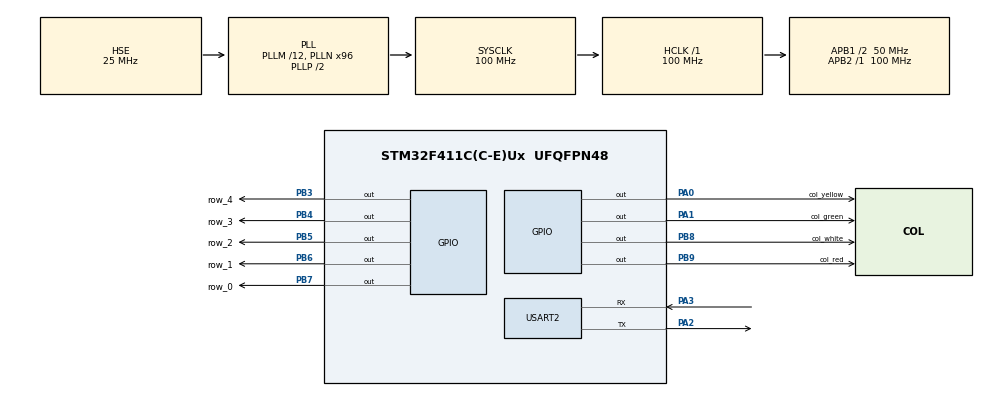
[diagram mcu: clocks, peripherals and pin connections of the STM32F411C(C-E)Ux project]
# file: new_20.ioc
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FREERTOS.Queues01=uart_to_output,10,uint32_t,0,Dynamic,NULL,NULL
FREERTOS.Tasks01=read_uart,32,128,start_read_uart,Default,NULL,Dynamic,NULL,NULL;output,24,128,start_output,Default,NULL,Dynamic,NULL,NULL;count_time,24,128,start_count_time,Default,NULL,Dynamic,NULL,NULL
Mcu.Family=STM32F4
Mcu.Name=STM32F411C(C-E)Ux
Mcu.Package=UFQFPN48
NVIC.PriorityGroup=NVIC_PRIORITYGROUP_4
NVIC.TIM4_IRQn=true\:15\:0\:false\:false\:true\:false\:false\:true\:true
NVIC.TimeBase=TIM4_IRQn
NVIC.TimeBaseIP=TIM4
PA0-WKUP.GPIO_Label=col_yellow
PA0-WKUP.GPIO_PuPd=GPIO_NOPULL
PA0-WKUP.GPIO_Speed=GPIO_SPEED_FREQ_VERY_HIGH
PA0-WKUP.PinState=GPIO_PIN_RESET
PA0-WKUP.Signal=GPIO_Output
PA1.GPIO_Label=col_green
PA1.GPIO_ModeDefaultOutputPP=GPIO_MODE_OUTPUT_PP
PA1.GPIO_PuPd=GPIO_NOPULL
PA1.GPIO_Speed=GPIO_SPEED_FREQ_VERY_HIGH
PA1.PinState=GPIO_PIN_RESET
PA1.Signal=GPIO_Output
PA13.Mode=Serial_Wire
PA13.Signal=SYS_JTMS-SWDIO
PA14.Mode=Serial_Wire
PA14.Signal=SYS_JTCK-SWCLK
PA2.Mode=Asynchronous
PA2.Signal=USART2_TX
PA3.Mode=Asynchronous
PA3.Signal=USART2_RX
PB3.GPIO_Label=row_4
PB3.GPIO_Speed=GPIO_SPEED_FREQ_VERY_HIGH
PB3.PinState=GPIO_PIN_SET
PB3.Signal=GPIO_Output
PB4.GPIO_Label=row_3
PB4.GPIO_Speed=GPIO_SPEED_FREQ_VERY_HIGH
PB4.PinState=GPIO_PIN_SET
PB4.Signal=GPIO_Output
PB5.GPIO_Label=row_2
PB5.GPIO_Speed=GPIO_SPEED_FREQ_VERY_HIGH
PB5.PinState=GPIO_PIN_SET
PB5.Signal=GPIO_Output
PB6.GPIO_Label=row_1
PB6.GPIO_Speed=GPIO_SPEED_FREQ_VERY_HIGH
PB6.PinState=GPIO_PIN_SET
PB6.Signal=GPIO_Output
PB7.GPIO_Label=row_0
PB7.GPIO_Speed=GPIO_SPEED_FREQ_VERY_HIGH
PB7.PinState=GPIO_PIN_SET
PB7.Signal=GPIO_Output
PB8.GPIO_Label=col_white
PB8.GPIO_Speed=GPIO_SPEED_FREQ_VERY_HIGH
PB8.PinState=GPIO_PIN_RESET
PB8.Signal=GPIO_Output
PB9.GPIO_Label=col_red
PB9.GPIO_Speed=GPIO_SPEED_FREQ_VERY_HIGH
PB9.PinState=GPIO_PIN_RESET
PB9.Signal=GPIO_Output
PH0\ -\ OSC_IN.Mode=HSE-External-Oscillator
PH0\ -\ OSC_IN.Signal=RCC_OSC_IN
PH1\ -\ OSC_OUT.Mode=HSE-External-Oscillator
PH1\ -\ OSC_OUT.Signal=RCC_OSC_OUT
ProjectManager.HeapSize=0x200
ProjectManager.StackSize=0x400
ProjectManager.TargetToolchain=STM32CubeIDE
RCC.48MHZClocksFreq_Value=50000000
RCC.AHBFreq_Value=100000000
RCC.APB1CLKDivider=RCC_HCLK_DIV2
RCC.APB1Freq_Value=50000000
RCC.APB1TimFreq_Value=100000000
RCC.APB2Freq_Value=100000000
RCC.APB2TimFreq_Value=100000000
RCC.CortexFreq_Value=100000000
RCC.HCLKFreq_Value=100000000
RCC.HSE_VALUE=25000000
RCC.HSI_VALUE=16000000
RCC.LSE_VALUE=32768
RCC.PLLM=12
RCC.PLLN=96
RCC.PLLSourceVirtual=RCC_PLLSOURCE_HSE
RCC.SYSCLKFreq_VALUE=100000000
RCC.SYSCLKSource=RCC_SYSCLKSOURCE_PLLCLK
RCC.VCOOutputFreq_Value=200000000
USART2.VirtualMode=VM_ASYNC
VP_FREERTOS_VS_CMSIS_V2.Mode=CMSIS_V2
VP_SYS_VS_tim4.Mode=TIM4
board=custom

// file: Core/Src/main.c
/* USER CODE BEGIN Header */
/**
  ******************************************************************************
  * @file           : main.c
  * @brief          : Main program body
  ******************************************************************************
  * @attention
  *
  * Copyright (c) 2024 STMicroelectronics.
  * All rights reserved.
  *
  * This software is licensed under terms that can be found in the LICENSE file
  * in the root directory of this software component.
  * If no LICENSE file comes with this software, it is provided AS-IS.
  *
  ******************************************************************************
  */
/* USER CODE END Header */
#include "main.h"
#include "cmsis_os.h"
#include "usart.h"
#include "gpio.h"

void SystemClock_Config(void);
void MX_FREERTOS_Init(void);

int main(void)
{

  /* MCU Configuration--------------------------------------------------------*/

  /* Reset of all peripherals, Initializes the Flash interface and the Systick. */
  HAL_Init();

  /* Configure the system clock */
  SystemClock_Config();

  /* Initialize all configured peripherals */
  MX_GPIO_Init();
  MX_USART2_UART_Init();

  /* Init scheduler */
  osKernelInitialize();

  /* Call init function for freertos objects (in cmsis_os2.c) */
  MX_FREERTOS_Init();

  /* Start scheduler */
  osKernelStart();

  /* We should never get here as control is now taken by the scheduler */

  /* Infinite loop */
  while (1)
  {

  }
}

void SystemClock_Config(void)
{
  RCC_OscInitTypeDef RCC_OscInitStruct = {0};
  RCC_ClkInitTypeDef RCC_ClkInitStruct = {0};

  /** Configure the main internal regulator output voltage
  */
  __HAL_RCC_PWR_CLK_ENABLE();
  __HAL_PWR_VOLTAGESCALING_CONFIG(PWR_REGULATOR_VOLTAGE_SCALE1);

  /** Initializes the RCC Oscillators according to the specified parameters
  * in the RCC_OscInitTypeDef structure.
  */
  RCC_OscInitStruct.OscillatorType = RCC_OSCILLATORTYPE_HSE;
  RCC_OscInitStruct.HSEState = RCC_HSE_ON;
  RCC_OscInitStruct.PLL.PLLState = RCC_PLL_ON;
  RCC_OscInitStruct.PLL.PLLSource = RCC_PLLSOURCE_HSE;
  RCC_OscInitStruct.PLL.PLLM = 12;
  RCC_OscInitStruct.PLL.PLLN = 96;
  RCC_OscInitStruct.PLL.PLLP = RCC_PLLP_DIV2;
  RCC_OscInitStruct.PLL.PLLQ = 4;
  if (HAL_RCC_OscConfig(&RCC_OscInitStruct) != HAL_OK)
  {
    Error_Handler();
  }

  /** Initializes the CPU, AHB and APB buses clocks
  */
  RCC_ClkInitStruct.ClockType = RCC_CLOCKTYPE_HCLK|RCC_CLOCKTYPE_SYSCLK
                              |RCC_CLOCKTYPE_PCLK1|RCC_CLOCKTYPE_PCLK2;
  RCC_ClkInitStruct.SYSCLKSource = RCC_SYSCLKSOURCE_PLLCLK;
  RCC_ClkInitStruct.AHBCLKDivider = RCC_SYSCLK_DIV1;
  RCC_ClkInitStruct.APB1CLKDivider = RCC_HCLK_DIV2;
  RCC_ClkInitStruct.APB2CLKDivider = RCC_HCLK_DIV1;

  if (HAL_RCC_ClockConfig(&RCC_ClkInitStruct, FLASH_LATENCY_3) != HAL_OK)
  {
    Error_Handler();
  }
}

void HAL_TIM_PeriodElapsedCallback(TIM_HandleTypeDef *htim)
{
  if (htim->Instance == TIM4) {
    HAL_IncTick();
  }
}

void Error_Handler(void)
{
  __disable_irq();
  while (1)
  {
  }
}

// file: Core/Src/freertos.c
/* USER CODE BEGIN Header */
/**
  ******************************************************************************
  * File Name          : freertos.c
  * Description        : Code for freertos applications
  ******************************************************************************
  * @attention
  *
  * Copyright (c) 2024 STMicroelectronics.
  * All rights reserved.
  *
  * This software is licensed under terms that can be found in the LICENSE file
  * in the root directory of this software component.
  * If no LICENSE file comes with this software, it is provided AS-IS.
  *
  ******************************************************************************
  */
/* USER CODE END Header */

#include "self.h"

/* USER CODE BEGIN Variables */
uint16_t counter[4];
/* USER CODE END Variables */
/* Definitions for read_uart */
osThreadId_t read_uartHandle;
const osThreadAttr_t read_uart_attributes = {
  .name = "read_uart",
  .stack_size = 128 * 4,
  .priority = (osPriority_t) osPriorityAboveNormal,
};
/* Definitions for output */
osThreadId_t outputHandle;
const osThreadAttr_t output_attributes = {
  .name = "output",
  .stack_size = 128 * 4,
  .priority = (osPriority_t) osPriorityNormal,
};
/* Definitions for count_time */
osThreadId_t count_timeHandle;
const osThreadAttr_t count_time_attributes = {
  .name = "count_time",
  .stack_size = 128 * 4,
  .priority = (osPriority_t) osPriorityNormal,
};
/* Definitions for uart_to_output */
osMessageQueueId_t uart_to_outputHandle;
const osMessageQueueAttr_t uart_to_output_attributes = {
  .name = "uart_to_output"
};

void start_read_uart(void *argument);
void start_output(void *argument);
void start_count_time(void *argument);

void MX_FREERTOS_Init(void); /* (MISRA C 2004 rule 8.1) */

void MX_FREERTOS_Init(void) {

  /* Create the queue(s) */
  /* creation of uart_to_output */
  uart_to_outputHandle = osMessageQueueNew (10, sizeof(uint32_t), &uart_to_output_attributes);

  /* Create the thread(s) */
  /* creation of read_uart */
  read_uartHandle = osThreadNew(start_read_uart, NULL, &read_uart_attributes);

  /* creation of output */
  outputHandle = osThreadNew(start_output, NULL, &output_attributes);

  /* creation of count_time */
  count_timeHandle = osThreadNew(start_count_time, NULL, &count_time_attributes);

}

void start_read_uart(void *argument)
{
  /* USER CODE BEGIN start_read_uart */
  /* Infinite loop */
  for(;;)
  {
    vTaskDelay(6000);
  }
  /* USER CODE END start_read_uart */
}

void start_output(void *argument)
{
  /* USER CODE BEGIN start_output */

  /* Infinite loop */
  for(;;)
  {
        toggle_led(WHITE, counter[WHITE]);
        toggle_led(RED, counter[RED]);
        toggle_led(YELLOW, counter[YELLOW]);
        toggle_led(GREEN, counter[GREEN]);
  }
  /* USER CODE END start_output */
}

void start_count_time(void *argument)
{
  /* USER CODE BEGIN start_count_time */
  uint32_t time = HAL_GetTick();
  _Bool buffer = 1;
  /* Infinite loop */
  for(;;)
    {
      counter[WHITE] = MAX_NUM;
      counter[RED] = MAX_NUM;
      counter[YELLOW] = MAX_NUM;
      counter[GREEN] = MAX_NUM;

      for(;;)
      {
        if(HAL_GetTick() - time >= 1000)
        {
          if (counter[GREEN] > MIN_NUM)
          {
            counter[GREEN] --;
          }else if (counter[YELLOW] > MIN_NUM)
          {
            counter[YELLOW] --;
            counter[GREEN] = MAX_NUM;
          }else if (counter[RED] > MIN_NUM)
          {
            counter[RED] --;
            counter[YELLOW] = MAX_NUM;
            counter[GREEN] = MAX_NUM;
          }else if (counter[WHITE] > MIN_NUM)
          {
            counter[WHITE]--;
            counter[RED] = MAX_NUM;
            counter[YELLOW] = MAX_NUM;
            counter[GREEN] = MAX_NUM;
          }else
          {
            break;
          }

          time = HAL_GetTick();
        }
      }
    }
  /* USER CODE END start_count_time */
}
